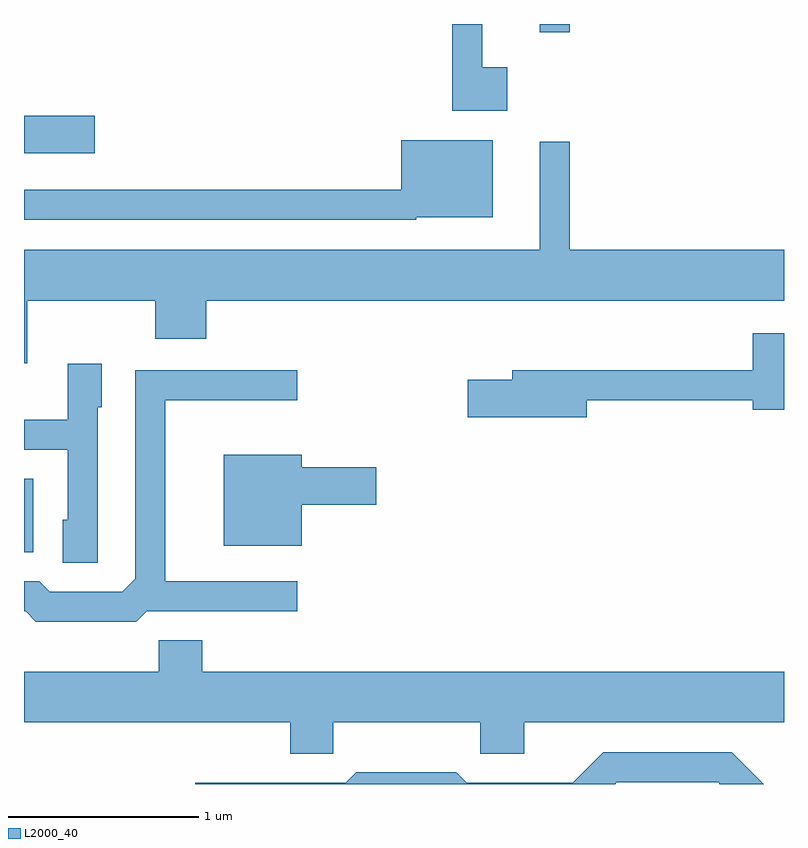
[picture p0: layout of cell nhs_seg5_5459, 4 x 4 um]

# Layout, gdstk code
import gdstk
lib = gdstk.Library(unit=1e-6, precision=1e-09)
def R(c, l, rs):  # rectangles x0, y0, x1, y1
    for r in rs: c.add(gdstk.rectangle(r[:2], r[2:], *l))
def P(c, l, *ps):  # polygons
    for p in ps: c.add(gdstk.Polygon(p, *l))
L2000_40 = (2000, 40)

nhs_seg5_5459 = lib.new_cell('nhs_seg5_5459')
R(nhs_seg5_5459, L2000_40, [(347.611,1413.291,347.659,1413.679), (347.611,1415.391,347.984,1415.589), (350.326,1416.028,350.484,1416.072)])
P(nhs_seg5_5459, L2000_40, [(350.154,1415.844),(350.024,1415.844),(350.024,1416.072),(349.866,1416.072),(349.866,1415.616),(350.154,1415.616)],
  [(349.675,1415.056),(350.079,1415.056),(350.079,1415.459),(349.596,1415.459),(349.596,1415.199),(347.611,1415.199),(347.611,1415.041),(349.675,1415.041)],
  [(347.629,1414.616),(348.301,1414.616),(348.301,1414.416),(348.569,1414.416),(348.569,1414.616),(351.611,1414.616),(351.611,1414.884),(350.484,1414.884),(350.484,1415.453),(350.326,1415.453),(350.326,1414.884),(347.611,1414.884),(347.611,1414.286),(347.629,1414.286)],
  [(350.574,1414.091),(351.446,1414.091),(351.446,1414.041),(351.611,1414.041),(351.611,1414.444),(351.446,1414.444),(351.446,1414.249),(350.181,1414.249),(350.181,1414.199),(349.946,1414.199),(349.946,1414.001),(350.574,1414.001)],
  [(347.999,1414.056),(348.019,1414.056),(348.019,1414.284),(347.841,1414.284),(347.841,1413.989),(347.611,1413.989),(347.611,1413.831),(347.841,1413.831),(347.841,1413.464),(347.816,1413.464),(347.816,1413.236),(347.999,1413.236)],
  [(348.257,1412.981),(349.048,1412.981),(349.048,1413.139),(348.354,1413.139),(348.354,1414.091),(349.048,1414.091),(349.048,1414.249),(348.196,1414.249),(348.196,1413.152),(348.129,1413.084),(347.747,1413.084),(347.692,1413.139),(347.611,1413.139),(347.611,1412.981),(347.619,1412.981),(347.674,1412.926),(348.202,1412.926)],
  [(349.074,1413.541),(349.464,1413.541),(349.464,1413.739),(349.074,1413.739),(349.074,1413.804),(348.661,1413.804),(348.661,1413.326),(349.074,1413.326)],
  [(349.239,1412.396),(350.011,1412.396),(350.011,1412.231),(350.244,1412.231),(350.244,1412.396),(351.611,1412.396),(351.611,1412.664),(348.549,1412.664),(348.549,1412.829),(348.321,1412.829),(348.321,1412.664),(347.611,1412.664),(347.611,1412.396),(349.011,1412.396),(349.011,1412.231),(349.239,1412.231)],
  [(350.732,1412.081),(351.264,1412.081),(351.273,1412.072),(351.504,1412.072),(351.337,1412.239),(350.659,1412.239),(350.499,1412.079),(349.942,1412.079),(349.887,1412.134),(349.359,1412.134),(349.304,1412.079),(348.513,1412.079),(348.513,1412.072),(350.723,1412.072)])

lib.write_gds('nhs_seg5_5459.gds')
